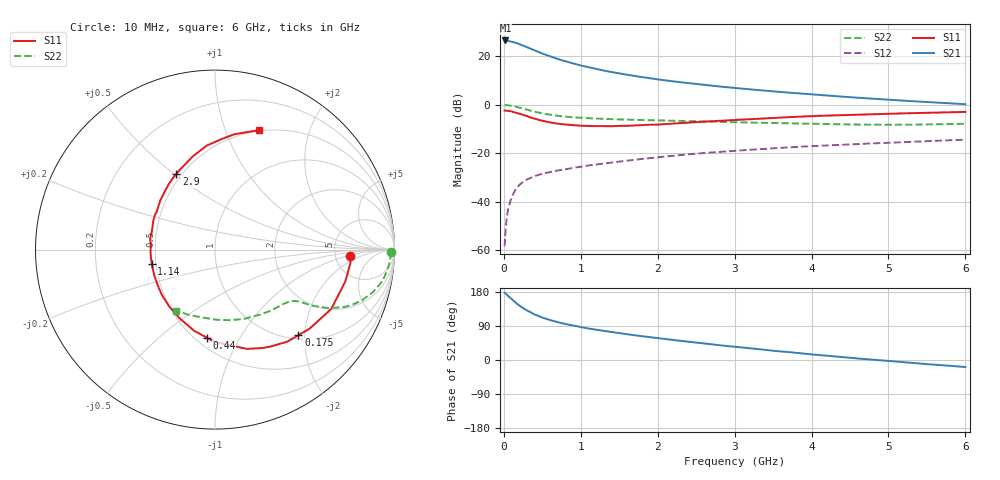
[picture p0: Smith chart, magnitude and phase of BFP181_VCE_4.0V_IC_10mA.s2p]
! Infineon Technologies  Discrete & RF Semiconductors
! BFP181
! VCE = 4.0 V,  IC =  10 mA
! Common Emitter S-Parameters:  Jan 2016
# GHz  S  MA  R  50
!  f  S11  S21  S12  S22
! GHz  MAG  ANG  MAG  ANG  MAG  ANG  MAG  ANG
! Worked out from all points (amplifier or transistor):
!   210 points, 10 MHz to 6 GHz, reference 50 ohm
!   highest |S21| = 26.5 dB at 20 MHz (marker M1)
!   |S21| within 3 dB of that: start of sweep to 319.3 MHz
!   unconditionally stable (mu >= 1): 1.194 GHz to end of sweep
!   at 185 MHz: K = 0.26, MSG = 29.5 dB, |S12| = -33.8 dB
!   at 1.52 GHz: K = 1.08, MAG = 16.3 dB, |S12| = -23.4 dB
!   at 6 GHz: K = 1.00, MAG = 7.1 dB, |S12| = -14.4 dB
!   S11 on the Smith chart (normalised r, x): 10 MHz: 6.95, -1.24; 175 MHz: 1.08, -1.86; 440 MHz: 0.57, -0.73; 1.14 GHz: 0.47, -0.09; 2.9 GHz: 0.47, +0.51; 6 GHz: 0.49, +1.31
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0.01  0.7555 -2.9  21.03 177.6  0.0012 89.9  0.9812 -0.9
0.02  0.7584 -5.6  21.13 176.1  0.0022 81.2  0.9798 -2.0
0.05  0.7475 -13.7  20.8 170.0  0.0062 86.2  0.9722 -5.4
0.1  0.7274 -27.0  19.98 160.7  0.012 77.1  0.9512 -10.5
0.15  0.6869 -39.9  19.05 151.6  0.0174 69.7  0.9117 -15.0
0.175  0.666 -45.7  18.43 147.8  0.0196 68.0  0.8899 -16.9
0.2  0.6523 -51.8  17.9 143.7  0.0219 66.7  0.8691 -18.8
0.24  0.6229 -60.1  16.81 138.1  0.0247 63.4  0.8347 -21.2
0.3  0.581 -72.2  15.42 130.8  0.0286 59.4  0.7846 -24.1
0.4  0.5152 -90.0  13.19 120.0  0.0333 54.9  0.7129 -27.2
0.44  0.492 -95.4  12.42 117.1  0.035 53.6  0.6912 -27.8
0.52  0.4578 -106.9  11.04 110.7  0.0381 51.6  0.6508 -29.1
0.7  0.4066 -128.8  8.721 99.8  0.0438 49.6  0.5882 -30.8
1.02  0.3664 -158.2  6.318 86.1  0.0528 48.8  0.5323 -32.6
1.14  0.3612 -167.5  5.725 81.9  0.0566 48.7  0.5201 -33.4
1.5  0.3667 170.4  4.412 70.7  0.0668 48.7  0.4954 -36.6
2.02  0.3899 145.8  3.288 57.2  0.0828 46.7  0.4732 -42.7
2.9  0.4729 117.2  2.288 37.0  0.1086 41.9  0.4385 -56.2
3.1  0.4917 112.2  2.139 33.0  0.1142 40.6  0.4302 -59.6
4.1  0.5877 92.8  1.588 13.1  0.1415 33.2  0.3997 -79.5
5.1  0.6563 79.3  1.235 -4.2  0.1662 26.0  0.3849 -102.0
6  0.7084 69.9  1.022 -18.6  0.1898 19.0  0.4038 -122.8
